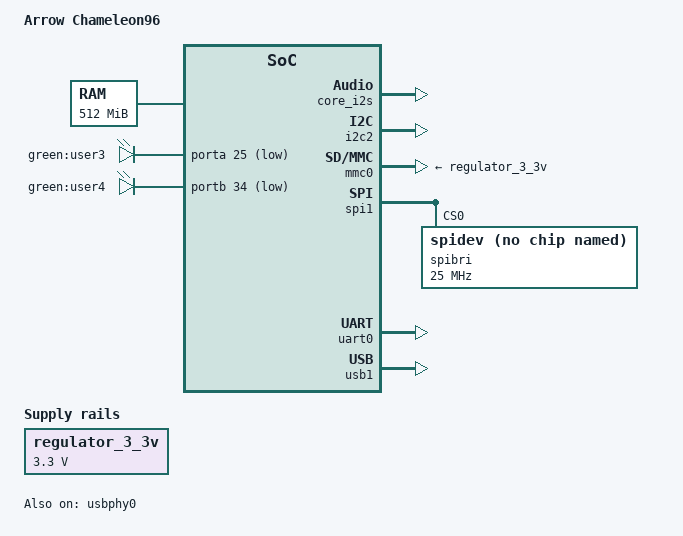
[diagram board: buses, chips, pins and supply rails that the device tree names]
// SPDX-License-Identifier: (GPL-2.0 OR MIT)
/*
 * Device Tree file for the Chameleon96
 *
 * Copyright (c) 2020 Marcus Andrade <marcus@raetro.org>
 * Copyright (c) 2018 Manivannan Sadhasivam <manivannan.sadhasivam@linaro.org>
 */

#include "socfpga_cyclone5.dtsi"
#include <dt-bindings/gpio/gpio.h>
#include <dt-bindings/interrupt-controller/irq.h>
#include <dt-bindings/display/tda998x.h>

/ {
	model = "Arrow Chameleon96";
	compatible = "altr,socfpga-cyclone5", "altr,socfpga";

	chosen {
		bootargs = "earlyprintk";
		stdout-path = "serial0:115200n8";
	};

	memory {
		name = "memory";
		device_type = "memory";
		reg = <0x0 0x20000000>; /* 512MB */
	};

    ethernet@ff702000 {
		status = "disabled";
	};

	regulator_3_3v: 3-3-v-regulator {
		compatible = "regulator-fixed";
		regulator-name = "3.3V";
		regulator-min-microvolt = <3300000>;
		regulator-max-microvolt = <3300000>;
	};

    hps_bridges: bridge@c0000000 {
			compatible = "altr,bridge-17.1", "simple-bus";
			reg = <0xc0000000 0x20000000>, <0xff200000 0x00200000>;
			reg-names = "axi_h2f", "axi_h2f_lw";
			#address-cells = <2>;
			#size-cells = <1>;
			ranges = <0x00000000 0x00000000 0xc0000000 0x00000008>;
			sysid: sysid@000000000 {
				compatible = "altr,sysid-17.1", "altr,sysid-1.0";
				reg = <0x00000000 0x00000000 0x00000008>;
				id = <3314942210>;
				timestamp = <1606259892>;
			};
		};

	leds {
		compatible = "gpio-leds";

		// user_led1 {
		// 	label = "green:user1";
		// 	gpios = <&porta 14 GPIO_ACTIVE_LOW>;
		// 	linux,default-trigger = "heartbeat";
		// };

		// user_led2 {
		// 	label = "green:user2";
		// 	gpios = <&porta 22 GPIO_ACTIVE_LOW>;
		// 	linux,default-trigger = "mmc0";
		// };

		hps0 {
			label = "green:user3";
			gpios = <&porta 25 GPIO_ACTIVE_LOW>;
			linux,default-trigger = "heartbeat";
		};

		hps1 {
			label = "green:user4";
			gpios = <&portb 34 GPIO_ACTIVE_LOW>;
			panic-indicator;
			linux,default-trigger = "mmc0";
		};
	};


    MiSTer_fb {
		compatible = "MiSTer_fb";
		reg = <0x12000000 0x800000>; 
		interrupt-parent = <&intc>;
		interrupts = < 0 40 1 >;
	};

    audio {
        compatible = "MiSTer,Audio";
        cpu-link = <&core_i2s>;
        reg = <0xff200010 0x10>;
    };

	clk48: clk48 {
		compatible = "fixed-clock";
		#clock-cells = <0>;
		clock-frequency  = <24576000>;
		clock-output-names = "clk48";
	};

	clk44: clk44 {
		compatible = "fixed-clock";
		#clock-cells = <0>;
		clock-frequency  = <33868800>;
		clock-output-names = "clk44";
	};

	core_i2s: core_i2s {
		#sound-dai-cells = <1>;
		compatible = "opencores,i2s";
		reg = <0xff200000 0x10>, <0xff200020 0x20>;
		clocks = <&clk44>, <&clk48>;
		clock-names = "clk44", "clk48";
		dmas = <&pdma 0>, <&pdma 1>;
		dma-names = "tx", "rx";
	};

};

&gpio0 {
	status = "okay";
};

&gpio1 {
	status = "okay";
};

&gpio2 {
	status = "okay";
};

&i2c0 {
	/* On Low speed expansion */
	label = "LS-I2C0";
	status = "disabled";
};

&i2c1 {
	/* On Low speed expansion */
	label = "LS-I2C1";
	status = "disabled";
};


&i2c2 {
	status = "okay";
    label = "HDMI-OUT";
};

&i2c3 {
	/* On High speed expansion */
	label = "HS-I2C2";
	status = "disabled";
};

&mmc0 {
	vmmc-supply = <&regulator_3_3v>;
	vqmmc-supply = <&regulator_3_3v>;
	status = "okay";
};

&spi0 {
	/* On High speed expansion */
	label = "HS-SPI1";
	status = "disabled";
};

&spi1 {
	status = "okay";
	timeouts = <3>;
	spibri@0 {
		status = "okay";
		compatible = "spidev";
		spi-max-frequency = <25000000>;
		reg = <0>;
	};
};

&uart0 {
	/* On Low speed expansion */
	label = "LS-UART1";
	status = "okay";
};

&uart1 {
	/* On Low speed expansion */
	label = "LS-UART0";
	status = "disabled";
};

&usbphy0 {
	status = "okay";
};

&usb1 {
	status = "okay";
};
